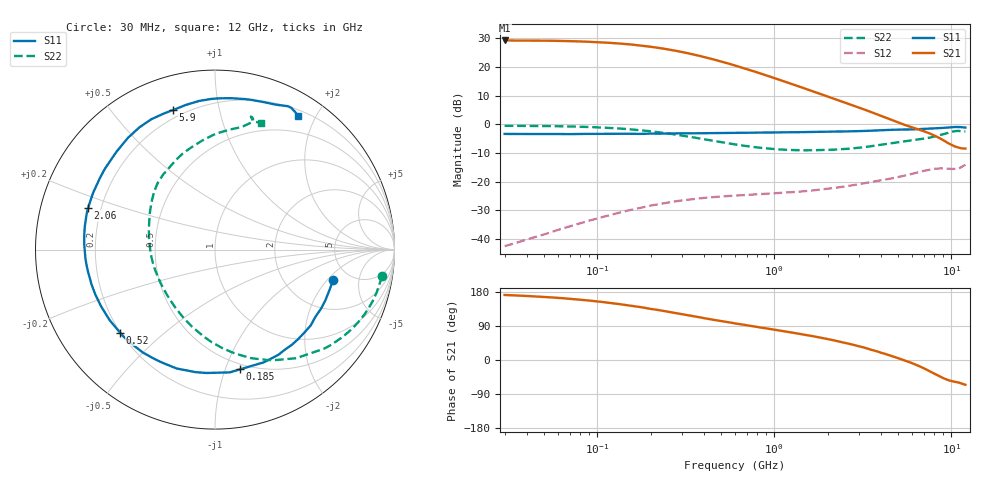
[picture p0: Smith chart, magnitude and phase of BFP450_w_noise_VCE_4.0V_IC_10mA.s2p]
! Infineon Technologies  Discrete & RF Semiconductors
! BFP450
! VCE =  4.0 V,  IC =  10 mA
! Common Emitter S-Parameters:  Nov 2015
# GHz  S  MA  R  50
!  f  S11  S21  S12  S22
! GHz  MAG  ANG  MAG  ANG  MAG  ANG  MAG  ANG
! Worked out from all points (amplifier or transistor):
!   239 points, 30 MHz to 12 GHz, reference 50 ohm
!   highest |S21| = 29.2 dB at 30 MHz (marker M1)
!   |S21| within 3 dB of that: start of sweep to 244.8 MHz
!   unconditionally stable (mu >= 1): 2.094 GHz to end of sweep
!   at 300 MHz: K = 0.19, MSG = 25.9 dB, |S12| = -26.6 dB
!   at 1.88 GHz: K = 0.93, MSG = 16.5 dB, |S12| = -22.7 dB
!   at 12 GHz: K = 1.14, MAG = 0.6 dB, |S12| = -14.1 dB
!   lowest NFmin = 0.98 dB at 450 MHz
!   S11 on the Smith chart (normalised r, x): 30 MHz: 3.70, -2.32; 185 MHz: 0.45, -1.13; 520 MHz: 0.20, -0.36; 2.06 GHz: 0.15, +0.16; 5.9 GHz: 0.16, +0.73; 12 GHz: 0.28, +1.77
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0.03  0.6789 -14.4  28.91 171.6  0.0075 69.5  0.9413 -9.1
0.055  0.6761 -26.6  28.59 165.2  0.0132 70.7  0.9278 -16.4
0.085  0.6794 -40.5  27.63 158.2  0.0198 66.9  0.9013 -25.1
0.105  0.6808 -49.1  26.81 153.5  0.0237 64.0  0.8788 -30.6
0.13  0.6842 -58.9  25.72 148.2  0.0283 60.3  0.848 -37.1
0.15  0.6843 -66.6  24.86 144.0  0.0315 57.5  0.8226 -42.0
0.185  0.6816 -78.2  23.13 137.8  0.0361 52.7  0.7726 -49.6
0.2  0.689 -83.1  22.48 134.9  0.0382 51.0  0.7557 -53.2
0.24  0.6889 -93.8  20.67 129.0  0.0423 46.6  0.7046 -60.8
0.3  0.6961 -107.9  18.24 120.8  0.047 41.3  0.638 -71.5
0.34  0.6951 -115.2  16.79 116.6  0.0492 38.5  0.5991 -77.4
0.4  0.7001 -124.8  14.91 110.5  0.052 34.9  0.5505 -85.7
0.52  0.7027 -138.8  12.04 101.6  0.0555 30.2  0.479 -99.2
0.6  0.7066 -146.2  10.56 96.5  0.0572 28.0  0.4458 -107.2
0.9  0.7148 -164.3  7.116 83.4  0.0612 24.3  0.3803 -129.5
1.2  0.7236 -176.1  5.272 73.9  0.0647 23.2  0.3577 -145.7
1.64  0.7352 171.4  3.781 63.1  0.0701 23.2  0.3525 -163.3
2.06  0.7441 161.8  2.954 54.1  0.0759 23.0  0.3582 -176.4
3  0.7608 144.0  1.953 36.3  0.0903 21.2  0.3902 160.7
4.5  0.8009 121.7  1.219 11.8  0.1123 14.3  0.4662 136.9
5.9  0.8118 106.8  0.895 -7.0  0.1349 6.4  0.5204 120.2
12  0.8758 58.1  0.378 -65.4  0.1966 -37.2  0.7512 70.2
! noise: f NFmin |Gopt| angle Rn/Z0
0.45  0.98  0.18  155  -0.03
0.9  1.02  0.29  158  0.08
1.9  1.18  0.48  -176  0.07
2.4  1.44  0.51  -163  0.06
